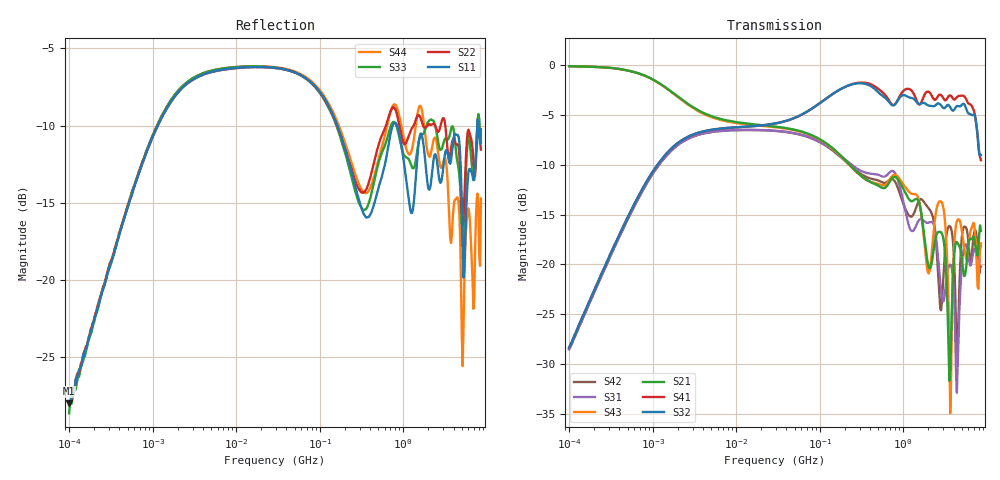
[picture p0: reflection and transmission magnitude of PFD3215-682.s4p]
# MHz S MA R 50
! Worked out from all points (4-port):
!   498 points, 100 kHz to 8.5 GHz, reference 50 ohm
!   strongest paths, dB at 100 kHz, 1.698 MHz, 29.49 MHz, 500.7 MHz, 8.5 GHz:
!     S32: -28.4, -8.3, -5.9, -2.8, -9.0
!     S41: -28.3, -8.4, -5.9, -2.4, -9.6
!     S21: -0.1, -2.7, -6.2, -12.1, -16.6
!     S43: -0.1, -2.8, -6.3, -11.9, -17.9
!     S31: -28.5, -8.5, -6.6, -11.0, -18.1
!     S42: -28.4, -8.6, -6.6, -11.6, -20.2
!   lowest |S11| = -28.0 dB at 100 kHz (marker M1), VSWR 1.08, Z = 51.2 + j3.86 ohm
!   |S11| at or under -10 dB: 162.6 MHz to 748.9 MHz (586.3 MHz wide, 129 % of centre); 843.4 MHz to 7.695 GHz (6.852 GHz wide, 160 % of centre); 7.999 GHz to end of sweep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
0.1  0.03987 70.6  0.983 -2.2  0.03758 -96.5  0.03849 83.5
     0.983 -2.2  0.03952 73.6  0.03822 84.0  0.03784 -97.0
     0.03758 -96.5  0.03822 84.0  0.037 71.1  0.9833 -2.2
     0.03849 83.5  0.03784 -97.0  0.9833 -2.2  0.03961 73.7
220.0307  0.2442 -65.6  0.3207 -100.3  0.3254 76.1  0.7874 -19.5
          0.3207 -100.3  0.2455 -56.1  0.786 -20.6  0.3186 81.1
          0.3254 76.1  0.786 -20.6  0.2362 -61.7  0.3189 -100.3
          0.7874 -19.5  0.3186 81.1  0.3189 -100.3  0.2587 -59.2
1336.696  0.1782 168.1  0.2095 -123.1  0.1485 64.2  0.7144 -178.2
          0.2095 -123.1  0.3165 173.2  0.6737 -176.1  0.1795 40.5
          0.1485 64.2  0.6737 -176.1  0.2301 166.3  0.2252 -121.9
          0.7144 -178.2  0.1795 40.5  0.2252 -121.9  0.2841 165.8
2713.323  0.2101 -4.8  0.1458 102.4  0.09058 -49.0  0.7082 9.2
          0.1458 102.4  0.3064 6.4  0.637 10.5  0.06809 -65.2
          0.09058 -49.0  0.637 10.5  0.2666 -11.4  0.2067 93.3
          0.7082 9.2  0.06809 -65.2  0.2067 93.3  0.2398 -26.9
4092.906  0.2948 -138.4  0.1142 -39.4  0.06214 -139.5  0.6687 -171.1
          0.1142 -39.4  0.2843 -148.6  0.5959 -163.2  0.09854 -149.3
          0.06214 -139.5  0.5959 -163.2  0.2948 -163.8  0.1285 -69.0
          0.6687 -171.1  0.09854 -149.3  0.1285 -69.0  0.1802 -140.3
5383.342  0.1082 -16.0  0.08731 104.6  0.1226 95.2  0.6939 15.1
          0.08731 104.6  0.1819 -14.2  0.6328 25.0  0.1547 78.1
          0.1226 95.2  0.6328 25.0  0.1522 -21.4  0.1204 67.2
          0.6939 15.1  0.1547 78.1  0.1204 67.2  0.09784 -112.8
8500  0.3075 -48.4  0.1474 56.4  0.1245 33.3  0.3325 -47.3
      0.1474 56.4  0.2643 -54.8  0.3538 -18.9  0.09778 18.3
      0.1245 33.3  0.3538 -18.9  0.2782 -65.3  0.1276 33.0
      0.3325 -47.3  0.09778 18.3  0.1276 33.0  0.1836 -21.7
